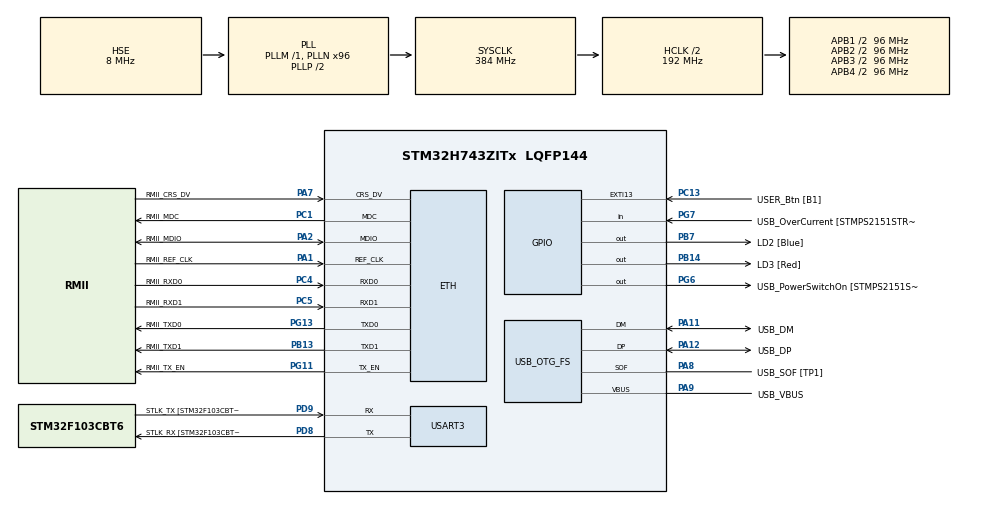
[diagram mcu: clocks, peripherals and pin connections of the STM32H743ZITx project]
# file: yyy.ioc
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CORTEX_M7.CPU_DCache=Enabled
CORTEX_M7.CPU_ICache=Enabled
Dma.Request0=USART3_RX
Dma.Request1=USART3_TX
Dma.USART3_RX.0.Direction=DMA_PERIPH_TO_MEMORY
Dma.USART3_RX.0.EventEnable=DISABLE
Dma.USART3_RX.0.FIFOMode=DMA_FIFOMODE_DISABLE
Dma.USART3_RX.0.Instance=DMA1_Stream0
Dma.USART3_RX.0.MemDataAlignment=DMA_MDATAALIGN_BYTE
Dma.USART3_RX.0.MemInc=DMA_MINC_ENABLE
Dma.USART3_RX.0.Mode=DMA_CIRCULAR
Dma.USART3_RX.0.PeriphDataAlignment=DMA_PDATAALIGN_BYTE
Dma.USART3_RX.0.PeriphInc=DMA_PINC_DISABLE
Dma.USART3_RX.0.Polarity=HAL_DMAMUX_REQ_GEN_RISING
Dma.USART3_RX.0.Priority=DMA_PRIORITY_LOW
Dma.USART3_RX.0.RequestNumber=1
Dma.USART3_RX.0.SyncEnable=DISABLE
Dma.USART3_RX.0.SyncPolarity=HAL_DMAMUX_SYNC_NO_EVENT
Dma.USART3_RX.0.SyncRequestNumber=1
Dma.USART3_TX.1.Direction=DMA_MEMORY_TO_PERIPH
Dma.USART3_TX.1.EventEnable=DISABLE
Dma.USART3_TX.1.FIFOMode=DMA_FIFOMODE_DISABLE
Dma.USART3_TX.1.Instance=DMA1_Stream1
Dma.USART3_TX.1.MemDataAlignment=DMA_MDATAALIGN_BYTE
Dma.USART3_TX.1.MemInc=DMA_MINC_ENABLE
Dma.USART3_TX.1.Mode=DMA_NORMAL
Dma.USART3_TX.1.PeriphDataAlignment=DMA_PDATAALIGN_BYTE
Dma.USART3_TX.1.PeriphInc=DMA_PINC_DISABLE
Dma.USART3_TX.1.Polarity=HAL_DMAMUX_REQ_GEN_RISING
Dma.USART3_TX.1.Priority=DMA_PRIORITY_LOW
Dma.USART3_TX.1.RequestNumber=1
Dma.USART3_TX.1.SyncEnable=DISABLE
Dma.USART3_TX.1.SyncPolarity=HAL_DMAMUX_SYNC_NO_EVENT
Dma.USART3_TX.1.SyncRequestNumber=1
ETH.MediaInterface=HAL_ETH_RMII_MODE
FATFS._FS_RPATH=2
FATFS._USE_FIND=1
FATFS._USE_LFN=2
FATFS._USE_STRFUNC=1
Mcu.Family=STM32H7
Mcu.Name=STM32H743ZITx
Mcu.Package=LQFP144
NVIC.DMA1_Stream0_IRQn=true\:0\:0\:false\:false\:true\:false
NVIC.DMA1_Stream1_IRQn=true\:0\:0\:false\:false\:true\:false
NVIC.OTG_FS_IRQn=true\:0\:0\:false\:false\:true\:false
NVIC.PriorityGroup=NVIC_PRIORITYGROUP_4
NVIC.USART3_IRQn=true\:0\:0\:false\:false\:true\:true
PA1.GPIO_Label=RMII_REF_CLK
PA1.Mode=RMII
PA1.Signal=ETH_REF_CLK
PA10.GPIO_Label=USB_ID
PA10.Signal=USB_OTG_FS_ID
PA11.GPIO_Label=USB_DM
PA11.Mode=Host_Only
PA11.Signal=USB_OTG_FS_DM
PA12.GPIO_Label=USB_DP
PA12.Mode=Host_Only
PA12.Signal=USB_OTG_FS_DP
PA13\ (JTMS/SWDIO).GPIO_Label=TMS
PA13\ (JTMS/SWDIO).Mode=Serial_Wire
PA13\ (JTMS/SWDIO).Signal=SYS_JTMS-SWDIO
PA14\ (JTCK/SWCLK).GPIO_Label=TCK
PA14\ (JTCK/SWCLK).Mode=Serial_Wire
PA14\ (JTCK/SWCLK).Signal=SYS_JTCK-SWCLK
PA2.GPIO_Label=RMII_MDIO
PA2.Mode=RMII
PA2.Signal=ETH_MDIO
PA7.GPIO_Label=RMII_CRS_DV
PA7.Mode=RMII
PA7.Signal=ETH_CRS_DV
PA8.GPIO_Label=USB_SOF [TP1]
PA8.Mode=Activate_SOF_FS
PA8.Signal=USB_OTG_FS_SOF
PA9.GPIO_Label=USB_VBUS
PA9.Mode=Activate_VBUS
PA9.Signal=USB_OTG_FS_VBUS
PB13.GPIO_Label=RMII_TXD1
PB13.Mode=RMII
PB13.Signal=ETH_TXD1
PB14.GPIO_Label=LD3 [Red]
PB14.Signal=GPIO_Output
PB3\ (JTDO/TRACESWO).GPIO_Label=SWO
PB3\ (JTDO/TRACESWO).Signal=SYS_JTDO-SWO
PB7.GPIO_Label=LD2 [Blue]
PB7.Signal=GPIO_Output
PC1.GPIO_Label=RMII_MDC
PC1.Mode=RMII
PC1.Signal=ETH_MDC
PC13.GPIO_Label=USER_Btn [B1]
PC13.Signal=GPXTI13
PC14-OSC32_IN\ (OSC32_IN).Mode=LSE-External-Oscillator
PC14-OSC32_IN\ (OSC32_IN).Signal=RCC_OSC32_IN
PC15-OSC32_OUT\ (OSC32_OUT).Mode=LSE-External-Oscillator
PC15-OSC32_OUT\ (OSC32_OUT).Signal=RCC_OSC32_OUT
PC4.GPIO_Label=RMII_RXD0
PC4.Mode=RMII
PC4.Signal=ETH_RXD0
PC5.GPIO_Label=RMII_RXD1
PC5.Mode=RMII
PC5.Signal=ETH_RXD1
PD8.GPIO_Label=STLK_RX [STM32F103CBT6_PA3]
PD8.Mode=Asynchronous
PD8.Signal=USART3_TX
PD9.GPIO_Label=STLK_TX [STM32F103CBT6_PA2]
PD9.Mode=Asynchronous
PD9.Signal=USART3_RX
PG11.GPIO_Label=RMII_TX_EN
PG11.Mode=RMII
PG11.Signal=ETH_TX_EN
PG13.GPIO_Label=RMII_TXD0
PG13.Mode=RMII
PG13.Signal=ETH_TXD0
PG6.GPIO_Label=USB_PowerSwitchOn [STMPS2151STR_EN]
PG6.Signal=GPIO_Output
PG7.GPIO_Label=USB_OverCurrent [STMPS2151STR_FAULT]
PG7.Signal=GPIO_Input
PH0-OSC_IN\ (PH0).GPIO_Label=MCO
PH0-OSC_IN\ (PH0).Mode=HSE-External-Clock-Source
PH0-OSC_IN\ (PH0).Signal=RCC_OSC_IN
PH1-OSC_OUT\ (PH1).Mode=HSE-External-Clock-Source
PH1-OSC_OUT\ (PH1).Signal=RCC_OSC_OUT
ProjectManager.HeapSize=0x4000
ProjectManager.StackSize=0x4000
ProjectManager.TargetToolchain=MDK-ARM V5
RCC.48MHZClocksFreq_Value=24000000
RCC.ADCFreq_Value=16125000
RCC.AHBFreq_Value=216000000
RCC.APB1CLKDivider=RCC_HCLK_DIV4
RCC.APB1Freq_Value=96000000
RCC.APB1TimFreq_Value=108000000
RCC.APB2CLKDivider=RCC_HCLK_DIV2
RCC.APB2Freq_Value=96000000
RCC.APB2TimFreq_Value=216000000
RCC.APB3Freq_Value=96000000
RCC.APB4Freq_Value=96000000
RCC.CortexFreq_Value=384000000
RCC.D1PPRE=RCC_APB3_DIV2
RCC.D2PPRE1=RCC_APB1_DIV2
RCC.D2PPRE2=RCC_APB2_DIV2
RCC.D3PPRE=RCC_APB4_DIV2
RCC.DIVM1=1
RCC.DIVN1=96
RCC.DIVQ1=16
RCC.DIVR1=8
RCC.HCLKFreq_Value=192000000
RCC.HPRE=RCC_HCLK_DIV2
RCC.HSE_VALUE=8000000
RCC.HSI_VALUE=64000000
RCC.PLLM=25
RCC.PLLMUL=RCC_PLL_MUL9
RCC.PLLN=432
RCC.PLLQ=9
RCC.PRESCALERUSB=RCC_USBCLKSOURCE_PLL_DIV1_5
RCC.SYSCLKFreq_VALUE=384000000
RCC.SYSCLKSource=RCC_SYSCLKSOURCE_PLLCLK
RCC.SYSCLKSourceVirtual=RCC_SYSCLKSOURCE_PLLCLK
RCC.USBFreq_Value=48000000
RCC.VCOOutputFreq_Value=432000000
USART3.VirtualMode-Asynchronous=VM_ASYNC
USART3.WordLength=WORDLENGTH_8B
USB_HOST.BSP.number=1
USB_HOST.USBH_HandleTypeDef-MSC_FS=hUsbHostFS
USB_HOST.VirtualModeFS=Msc
USB_HOST0.BSP.STBoard=false
USB_HOST0.BSP.api=Unknown
USB_HOST0.BSP.i2caddr=0
USB_HOST0.BSP.instance=PG6
USB_HOST0.BSP.ip=GPIO
USB_HOST0.BSP.mode=Output
USB_HOST0.BSP.name=Drive_VBUS_FS
USB_HOST0.BSP.solution=PG6
USB_OTG_FS.VirtualMode=Host_Only
USB_OTG_FS.phy_itface=HCD_PHY_EMBEDDED
VP_FATFS_VS_Generic.Mode=User_defined
VP_FATFS_VS_USB.Mode=USB
VP_USB_HOST_VS_USB_HOST_MSC_FS.Mode=MSC_FS
board=NUCLEO-H743ZI

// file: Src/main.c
/* USER CODE BEGIN Header */
/**
  ******************************************************************************
  * @file           : main.c
  * @brief          : Main program body
  ******************************************************************************
  * This notice applies to any and all portions of this file
  * that are not between comment pairs USER CODE BEGIN and
  * USER CODE END. Other portions of this file, whether
  * inserted by the user or by software development tools
  * are owned by their respective copyright owners.
  *
  * Copyright (c) 2019 STMicroelectronics International N.V.
  * All rights reserved.
  *
  * Redistribution and use in source and binary forms, with or without
  * modification, are permitted, provided that the following conditions are met:
  *
  * 1. Redistribution of source code must retain the above copyright notice,
  *    this list of conditions and the following disclaimer.
  * 2. Redistributions in binary form must reproduce the above copyright notice,
  *    this list of conditions and the following disclaimer in the documentation
  *    and/or other materials provided with the distribution.
  * 3. Neither the name of STMicroelectronics nor the names of other
  *    contributors to this software may be used to endorse or promote products
  *    derived from this software without specific written permission.
  * 4. This software, including modifications and/or derivative works of this
  *    software, must execute solely and exclusively on microcontroller or
  *    microprocessor devices manufactured by or for STMicroelectronics.
  * 5. Redistribution and use of this software other than as permitted under
  *    this license is void and will automatically terminate your rights under
  *    this license.
  *
  * THIS SOFTWARE IS PROVIDED BY STMICROELECTRONICS AND CONTRIBUTORS "AS IS"
  * AND ANY EXPRESS, IMPLIED OR STATUTORY WARRANTIES, INCLUDING, BUT NOT
  * LIMITED TO, THE IMPLIED WARRANTIES OF MERCHANTABILITY, FITNESS FOR A
  * PARTICULAR PURPOSE AND NON-INFRINGEMENT OF THIRD PARTY INTELLECTUAL PROPERTY
  * RIGHTS ARE DISCLAIMED TO THE FULLEST EXTENT PERMITTED BY LAW. IN NO EVENT
  * SHALL STMICROELECTRONICS OR CONTRIBUTORS BE LIABLE FOR ANY DIRECT, INDIRECT,
  * INCIDENTAL, SPECIAL, EXEMPLARY, OR CONSEQUENTIAL DAMAGES (INCLUDING, BUT NOT
  * LIMITED TO, PROCUREMENT OF SUBSTITUTE GOODS OR SERVICES; LOSS OF USE, DATA,
  * OR PROFITS; OR BUSINESS INTERRUPTION) HOWEVER CAUSED AND ON ANY THEORY OF
  * LIABILITY, WHETHER IN CONTRACT, STRICT LIABILITY, OR TORT (INCLUDING
  * NEGLIGENCE OR OTHERWISE) ARISING IN ANY WAY OUT OF THE USE OF THIS SOFTWARE,
  * EVEN IF ADVISED OF THE POSSIBILITY OF SUCH DAMAGE.
  *
  ******************************************************************************
  */
/* USER CODE END Header */

#include "main.h"
#include "string.h"
#include "fatfs.h"
#include "usb_host.h"

#if defined ( __ICCARM__ ) /*!< IAR Compiler */

#pragma location=0x30040000
ETH_DMADescTypeDef  DMARxDscrTab[ETH_RX_DESC_CNT]; /* Ethernet Rx DMA Descriptors */
#pragma location=0x30040060
ETH_DMADescTypeDef  DMATxDscrTab[ETH_TX_DESC_CNT]; /* Ethernet Tx DMA Descriptors */
#pragma location=0x30040200
uint8_t Rx_Buff[ETH_RX_DESC_CNT][ETH_MAX_PACKET_SIZE]; /* Ethernet Receive Buffers */

#elif defined ( __CC_ARM )  /* MDK ARM Compiler */

__attribute__((at(0x30040000))) ETH_DMADescTypeDef  DMARxDscrTab[ETH_RX_DESC_CNT]; /* Ethernet Rx DMA Descriptors */
__attribute__((at(0x30040060))) ETH_DMADescTypeDef  DMATxDscrTab[ETH_TX_DESC_CNT]; /* Ethernet Tx DMA Descriptors */
__attribute__((at(0x30040200))) uint8_t Rx_Buff[ETH_RX_DESC_CNT][ETH_MAX_PACKET_SIZE]; /* Ethernet Receive Buffer */

#elif defined ( __GNUC__ ) /* GNU Compiler */

ETH_DMADescTypeDef DMARxDscrTab[ETH_RX_DESC_CNT] __attribute__((section(".RxDecripSection"))); /* Ethernet Rx DMA Descriptors */
ETH_DMADescTypeDef DMATxDscrTab[ETH_TX_DESC_CNT] __attribute__((section(".TxDecripSection")));   /* Ethernet Tx DMA Descriptors */
uint8_t Rx_Buff[ETH_RX_DESC_CNT][ETH_MAX_PACKET_SIZE] __attribute__((section(".RxArraySection"))); /* Ethernet Receive Buffers */

#endif

ETH_TxPacketConfig TxConfig;

ETH_HandleTypeDef heth;

UART_HandleTypeDef huart3;
DMA_HandleTypeDef hdma_usart3_rx;
DMA_HandleTypeDef hdma_usart3_tx;

/* USER CODE BEGIN PV */
/* Private variables ---------------------------------------------------------*/
void	makeVcp(void),
			killVcp(void),
			makeMsc(void),
			killMsc(void),
			makeHost(void),
			killHost(void),
			makeApp(void),
			_proc_loop();
/* USER CODE END PV */

void SystemClock_Config(void);
static void MX_GPIO_Init(void);
static void MX_DMA_Init(void);
static void MX_ETH_Init(void);
static void MX_USART3_UART_Init(void);
void MX_USB_HOST_Process(void);

/* USER CODE BEGIN PFP */
/* Private function prototypes -----------------------------------------------*/
extern HCD_HandleTypeDef hhcd_USB_OTG_FS;
/* USER CODE END PFP */

int main(void)
{

  /* Enable I-Cache---------------------------------------------------------*/
  SCB_EnableICache();

  /* Enable D-Cache---------------------------------------------------------*/
  SCB_EnableDCache();

  /* MCU Configuration--------------------------------------------------------*/

  /* Reset of all peripherals, Initializes the Flash interface and the Systick. */
  HAL_Init();

  /* Configure the system clock */
  SystemClock_Config();

  /* Initialize all configured peripherals */
  MX_GPIO_Init();
  MX_DMA_Init();
  MX_ETH_Init();
  MX_USART3_UART_Init();
  MX_FATFS_Init();
  MX_USB_HOST_Init();
  /* USER CODE BEGIN 2 */
	HAL_PWREx_EnableUSBVoltageDetector();
	makeApp();
  /* USER CODE END 2 */

  /* Infinite loop */
  /* USER CODE BEGIN WHILE */
  while (1)
  {
		if(HAL_GPIO_ReadPin(USB_ID_GPIO_Port,USB_ID_Pin) == GPIO_PIN_RESET) {
			if (USB_GetMode(hhcd_USB_OTG_FS.Instance) != USB_OTG_MODE_HOST) {
				killMsc();
				killVcp();
				makeHost();
			}
    /* USER CODE END WHILE */
    MX_USB_HOST_Process();

    /* USER CODE BEGIN 3 */
		} else {
			if (USB_GetMode(hhcd_USB_OTG_FS.Instance) != USB_OTG_MODE_DEVICE) {
				killVcp();
				killHost();
				makeMsc();
			}
		}
		_proc_loop();
  }
  /* USER CODE END 3 */
}

void SystemClock_Config(void)
{
  RCC_OscInitTypeDef RCC_OscInitStruct = {0};
  RCC_ClkInitTypeDef RCC_ClkInitStruct = {0};
  RCC_PeriphCLKInitTypeDef PeriphClkInitStruct = {0};

  /**Supply configuration update enable
  */
  MODIFY_REG(PWR->CR3, PWR_CR3_SCUEN, 0);
  /**Configure the main internal regulator output voltage
  */
  __HAL_PWR_VOLTAGESCALING_CONFIG(PWR_REGULATOR_VOLTAGE_SCALE1);

  while ((PWR->D3CR & (PWR_D3CR_VOSRDY)) != PWR_D3CR_VOSRDY)
  {

  }
  /**Initializes the CPU, AHB and APB busses clocks
  */
  RCC_OscInitStruct.OscillatorType = RCC_OSCILLATORTYPE_HSE;
  RCC_OscInitStruct.HSEState = RCC_HSE_BYPASS;
  RCC_OscInitStruct.PLL.PLLState = RCC_PLL_ON;
  RCC_OscInitStruct.PLL.PLLSource = RCC_PLLSOURCE_HSE;
  RCC_OscInitStruct.PLL.PLLM = 1;
  RCC_OscInitStruct.PLL.PLLN = 96;
  RCC_OscInitStruct.PLL.PLLP = 2;
  RCC_OscInitStruct.PLL.PLLQ = 16;
  RCC_OscInitStruct.PLL.PLLR = 8;
  RCC_OscInitStruct.PLL.PLLRGE = RCC_PLL1VCIRANGE_3;
  RCC_OscInitStruct.PLL.PLLVCOSEL = RCC_PLL1VCOWIDE;
  RCC_OscInitStruct.PLL.PLLFRACN = 0;
  if (HAL_RCC_OscConfig(&RCC_OscInitStruct) != HAL_OK)
  {
    Error_Handler();
  }
  /**Initializes the CPU, AHB and APB busses clocks
  */
  RCC_ClkInitStruct.ClockType = RCC_CLOCKTYPE_HCLK|RCC_CLOCKTYPE_SYSCLK
                              |RCC_CLOCKTYPE_PCLK1|RCC_CLOCKTYPE_PCLK2
                              |RCC_CLOCKTYPE_D3PCLK1|RCC_CLOCKTYPE_D1PCLK1;
  RCC_ClkInitStruct.SYSCLKSource = RCC_SYSCLKSOURCE_PLLCLK;
  RCC_ClkInitStruct.SYSCLKDivider = RCC_SYSCLK_DIV1;
  RCC_ClkInitStruct.AHBCLKDivider = RCC_HCLK_DIV2;
  RCC_ClkInitStruct.APB3CLKDivider = RCC_APB3_DIV2;
  RCC_ClkInitStruct.APB1CLKDivider = RCC_APB1_DIV2;
  RCC_ClkInitStruct.APB2CLKDivider = RCC_APB2_DIV2;
  RCC_ClkInitStruct.APB4CLKDivider = RCC_APB4_DIV2;

  if (HAL_RCC_ClockConfig(&RCC_ClkInitStruct, FLASH_LATENCY_2) != HAL_OK)
  {
    Error_Handler();
  }
  PeriphClkInitStruct.PeriphClockSelection = RCC_PERIPHCLK_USART3|RCC_PERIPHCLK_USB;
  PeriphClkInitStruct.Usart234578ClockSelection = RCC_USART234578CLKSOURCE_D2PCLK1;
  PeriphClkInitStruct.UsbClockSelection = RCC_USBCLKSOURCE_PLL;
  if (HAL_RCCEx_PeriphCLKConfig(&PeriphClkInitStruct) != HAL_OK)
  {
    Error_Handler();
  }
}

static void MX_ETH_Init(void)
{

   uint8_t MACAddr[6] ;

  heth.Instance = ETH;
  MACAddr[0] = 0x00;
  MACAddr[1] = 0x80;
  MACAddr[2] = 0xE1;
  MACAddr[3] = 0x00;
  MACAddr[4] = 0x00;
  MACAddr[5] = 0x00;
  heth.Init.MACAddr = &MACAddr[0];
  heth.Init.MediaInterface = HAL_ETH_RMII_MODE;
  heth.Init.TxDesc = DMATxDscrTab;
  heth.Init.RxDesc = DMARxDscrTab;
  heth.Init.RxBuffLen = 1524;

  if (HAL_ETH_Init(&heth) != HAL_OK)
  {
    Error_Handler();
  }

  memset(&TxConfig, 0 , sizeof(ETH_TxPacketConfig));
  TxConfig.Attributes = ETH_TX_PACKETS_FEATURES_CSUM | ETH_TX_PACKETS_FEATURES_CRCPAD;
  TxConfig.ChecksumCtrl = ETH_CHECKSUM_IPHDR_PAYLOAD_INSERT_PHDR_CALC;
  TxConfig.CRCPadCtrl = ETH_CRC_PAD_INSERT;

}

static void MX_USART3_UART_Init(void)
{

  huart3.Instance = USART3;
  huart3.Init.BaudRate = 115200;
  huart3.Init.WordLength = UART_WORDLENGTH_8B;
  huart3.Init.StopBits = UART_STOPBITS_1;
  huart3.Init.Parity = UART_PARITY_NONE;
  huart3.Init.Mode = UART_MODE_TX_RX;
  huart3.Init.HwFlowCtl = UART_HWCONTROL_NONE;
  huart3.Init.OverSampling = UART_OVERSAMPLING_16;
  huart3.Init.OneBitSampling = UART_ONE_BIT_SAMPLE_DISABLE;
  huart3.Init.Prescaler = UART_PRESCALER_DIV1;
  huart3.Init.FIFOMode = UART_FIFOMODE_DISABLE;
  huart3.Init.TXFIFOThreshold = UART_TXFIFO_THRESHOLD_1_8;
  huart3.Init.RXFIFOThreshold = UART_RXFIFO_THRESHOLD_1_8;
  huart3.AdvancedInit.AdvFeatureInit = UART_ADVFEATURE_NO_INIT;
  if (HAL_UART_Init(&huart3) != HAL_OK)
  {
    Error_Handler();
  }

}

static void MX_DMA_Init(void)
{
  /* DMA controller clock enable */
  __HAL_RCC_DMA1_CLK_ENABLE();

  /* DMA interrupt init */
  /* DMA1_Stream0_IRQn interrupt configuration */
  HAL_NVIC_SetPriority(DMA1_Stream0_IRQn, 0, 0);
  HAL_NVIC_EnableIRQ(DMA1_Stream0_IRQn);
  /* DMA1_Stream1_IRQn interrupt configuration */
  HAL_NVIC_SetPriority(DMA1_Stream1_IRQn, 0, 0);
  HAL_NVIC_EnableIRQ(DMA1_Stream1_IRQn);

}

static void MX_GPIO_Init(void)
{
  GPIO_InitTypeDef GPIO_InitStruct = {0};

  /* GPIO Ports Clock Enable */
  __HAL_RCC_GPIOC_CLK_ENABLE();
  __HAL_RCC_GPIOH_CLK_ENABLE();
  __HAL_RCC_GPIOA_CLK_ENABLE();
  __HAL_RCC_GPIOB_CLK_ENABLE();
  __HAL_RCC_GPIOD_CLK_ENABLE();
  __HAL_RCC_GPIOG_CLK_ENABLE();

  /*Configure GPIO pin Output Level */
  HAL_GPIO_WritePin(GPIOB, LD3_Pin|LD2_Pin, GPIO_PIN_RESET);

  /*Configure GPIO pin Output Level */
  HAL_GPIO_WritePin(USB_PowerSwitchOn_GPIO_Port, USB_PowerSwitchOn_Pin, GPIO_PIN_RESET);

  /*Configure GPIO pin : USER_Btn_Pin */
  GPIO_InitStruct.Pin = USER_Btn_Pin;
  GPIO_InitStruct.Mode = GPIO_MODE_IT_RISING;
  GPIO_InitStruct.Pull = GPIO_NOPULL;
  HAL_GPIO_Init(USER_Btn_GPIO_Port, &GPIO_InitStruct);

  /*Configure GPIO pins : LD3_Pin LD2_Pin */
  GPIO_InitStruct.Pin = LD3_Pin|LD2_Pin;
  GPIO_InitStruct.Mode = GPIO_MODE_OUTPUT_PP;
  GPIO_InitStruct.Pull = GPIO_NOPULL;
  GPIO_InitStruct.Speed = GPIO_SPEED_FREQ_LOW;
  HAL_GPIO_Init(GPIOB, &GPIO_InitStruct);

  /*Configure GPIO pin : USB_PowerSwitchOn_Pin */
  GPIO_InitStruct.Pin = USB_PowerSwitchOn_Pin;
  GPIO_InitStruct.Mode = GPIO_MODE_OUTPUT_PP;
  GPIO_InitStruct.Pull = GPIO_NOPULL;
  GPIO_InitStruct.Speed = GPIO_SPEED_FREQ_LOW;
  HAL_GPIO_Init(USB_PowerSwitchOn_GPIO_Port, &GPIO_InitStruct);

  /*Configure GPIO pin : USB_OverCurrent_Pin */
  GPIO_InitStruct.Pin = USB_OverCurrent_Pin;
  GPIO_InitStruct.Mode = GPIO_MODE_INPUT;
  GPIO_InitStruct.Pull = GPIO_NOPULL;
  HAL_GPIO_Init(USB_OverCurrent_GPIO_Port, &GPIO_InitStruct);

}

/* USER CODE BEGIN 4 */
__weak void makeApp(void) {}
/* USER CODE END 4 */

void Error_Handler(void)
{
  while(1)
  {
  }
}

/************************ (C) COPYRIGHT STMicroelectronics *****END OF FILE****/
